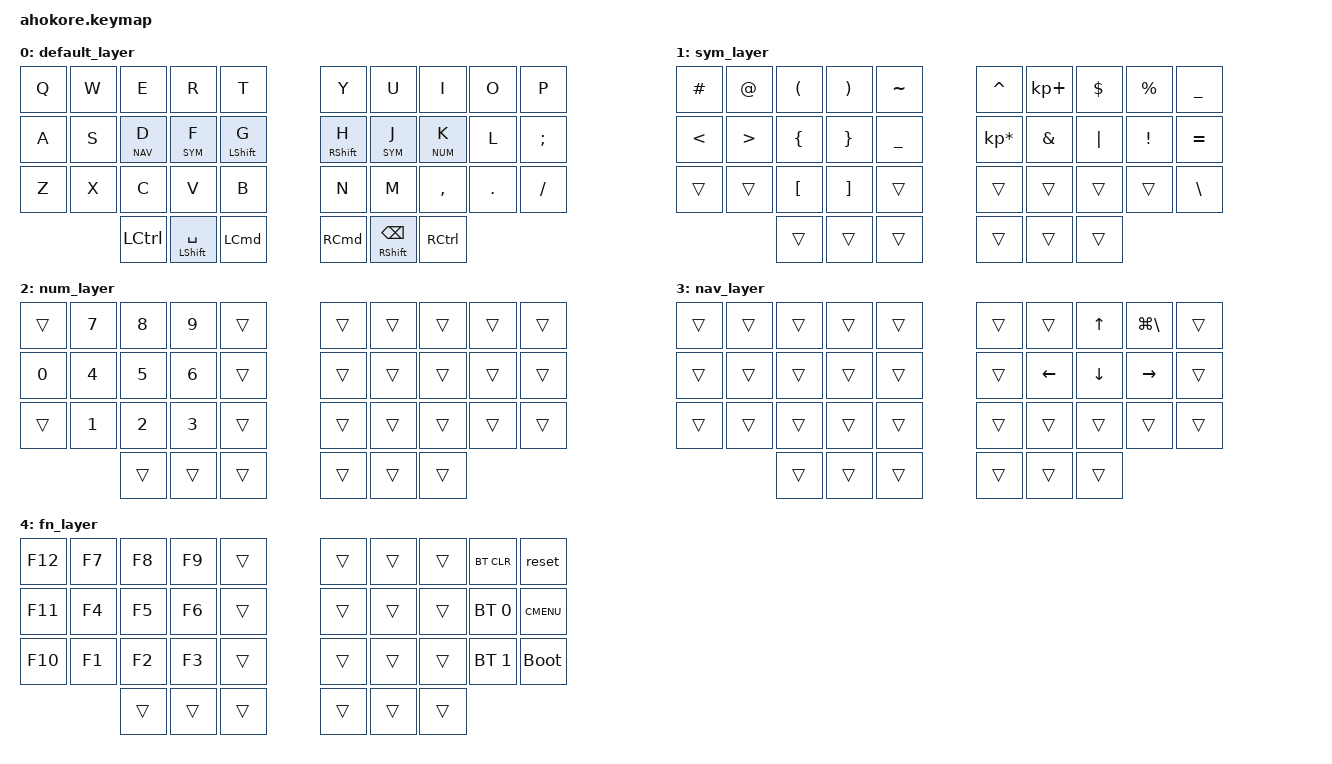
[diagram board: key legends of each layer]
/*
 * Copyright (c) 2020 The ZMK Contributors
 *
 * SPDX-License-Identifier: MIT
 */

#include <behaviors.dtsi>
#include <dt-bindings/zmk/keys.h>
#include <dt-bindings/zmk/bt.h>

#define DEFAULT 0
#define SYM 1
#define NUM 2
#define NAV 3
#define FN 4

/ {
    behaviors {
        hm: homerow_mods {
            compatible = "zmk,behavior-hold-tap";
            label = "HOMEROW_MODS";
            #binding-cells = <2>;
            tapping_term_ms = <225>;
            flavor = "balanced";
            bindings = <&kp>, <&kp>;
            };
        };

    combos {
        compatible = "zmk,combos";

        // DEFAULT LAYER COMBOS

        // F + G
        combo_tab {
            timeout-ms = <50>;
            key-positions = <13 14>;
            bindings = <&kp TAB>;
            layers = <0>;
        };
        // H + J, symmetrical 'reverse tab'
        combo_shift_tab {
            timeout-ms = <50>;
            key-positions = <15 16>;
            bindings = <&kp LS(TAB)>;
            layers = <0>;
        };
        // J + K -> fn layer, this is the num layer key press with key to left added to trigger FN layer
        combo_fn_layer { 
            timeout-ms = <50>;
            key-positions = <16 17>;
            bindings = <&mo FN>;
            layers = <0>;
        };

        // since this is a 36 key layout and doesn't have these keys on the default layer anymore, 
        // make them from a vertical combo
        combo_apostrophe {
            timeout-ms = <50>;
            key-positions = <9 19>;
            bindings = <&kp SINGLE_QUOTE>;
            layers = <0>;
        }; 
        combo_hyphen {
            timeout-ms = <50>;
            key-positions = <19 29>;
            bindings = <&kp MINUS>;
            layers = <0>;
        }; 

        // SYMBOLS LAYER COMBOS

        // apostrophe, but symbols layer version
        combo_backtick {
            timeout-ms = <50>;
            key-positions = <9 19>;
            bindings = <&kp GRAVE>;
            layers = <1>;
        };
        // make en-dash more accessible
        combo_en_dash {
            timeout-ms = <50>;
            key-positions = <19 29>;
            bindings = <&kp LA(MINUS)>;
            layers = <1>;
        }; 
        
        // UNIVERSAL COMBOS
        // (these are for the thumb keys and should remain available regardless of layer)

        combo_return {
            timeout-ms = <50>;
            key-positions = <31 34>;
            bindings = <&kp RETURN>;
        };
        combo_lshift {
            timeout-ms = <50>;
            key-positions = <31 32>;
            bindings = <&kp LSHIFT>;
        };
        combo_rshift {
            timeout-ms = <50>;
            key-positions = <33 34>;
            bindings = <&kp RSHIFT>;
        };
        combo_lalt {
            timeout-ms = <50>;
            key-positions = <30 31>;
            bindings = <&kp LALT>;
        };
        combo_ralt {
            timeout-ms = <50>;
            key-positions = <34 35>;
            bindings = <&kp RALT>;
        };
    };
};

/ {
    keymap {
        compatible = "zmk,keymap";

        default_layer {
    // -----------------------------------------------------------------------------------------
    // |  Q  |  W  |  E  |  R  |  T   |  Y  |  U   |  I  |  O  |  P  |
    // |  A  |  S  |  D  |  F  |  G   |  H  |  J   |  K  |  L  |  ;  | 
    // |  Z  |  X  |  C  |  V  |  B   |  N  |  M   |  ,  |  .  |  /  |
    //             | CTL | SPC |  CMD | CMD | BSP  | CTL |
            bindings = <
    &kp Q      &kp W            &kp E      &kp R      &kp T            &kp Y        &kp U      &kp I      &kp O    &kp P
    &kp A      &kp S            &lt NAV D  &lt SYM F  &hm LSHFT G      &hm RSHFT H  &lt SYM J  &lt NUM K  &kp L    &kp SEMI
    &kp Z      &kp X            &kp C      &kp V      &kp B            &kp N        &kp M      &kp COMMA  &kp DOT  &kp FSLH
    &kp LCTRL  &hm LSHFT SPACE  &kp LCMD   &kp RCMD   &hm RSHIFT BSPC  &kp RCTRL
                        >;
        };

        sym_layer {
    // -----------------------------------------------------------------------------------------
    // |  #  |  @  |  (  |  )  |  ~  |  ^  |  +  |  $  |  %  |  _  |
    // |  <  |  >  |  {  |  }  |  _  |  *  |  &  |  |  |  !  |  =  |
    // |     |     |  [  |  ]  |     |     |     |     |     |  \  |
    //             |     |     |     |     |     |     |
                        bindings = <
    &kp HASH  &kp AT  &kp LPAR  &kp RPAR  &kp TILDE  &kp CARET        &kp KP_PLUS  &kp DOLLAR  &kp PRCNT  &kp UNDER
    &kp LT    &kp GT  &kp LBRC  &kp RBRC  &kp UNDER  &kp KP_ASTERISK  &kp AMPS     &kp PIPE    &kp EXCL   &kp EQUAL
    &trans    &trans  &kp LBKT  &kp RBKT  &trans     &trans           &trans       &trans      &trans     &kp BSLH
    &trans    &trans  &trans    &trans    &trans     &trans
                        >;
        };

        num_layer {
    // -----------------------------------------------------------------------------------------
    // |     |  7  |  8  |  9  |     |     |     |     |     |     |
    // |  0  |  4  |  5  |  6  |     |     |     |     |     |     |
    // |     |  1  |  2  |  3  |     |     |     |     |     |     |
    //             |     |     |     |     |     |     |
                        bindings = <
    &trans  &kp N7  &kp N8  &kp N9  &trans  &trans  &trans  &trans  &trans  &trans
    &kp N0  &kp N4  &kp N5  &kp N6  &trans  &trans  &trans  &trans  &trans  &trans
    &trans  &kp N1  &kp N2  &kp N3  &trans  &trans  &trans  &trans  &trans  &trans
    &trans  &trans  &trans  &trans  &trans  &trans
                        >;
        };

        nav_layer {
    // -----------------------------------------------------------------------------------------
    // |     |     |     |      |     |      |      |  UP  | 1PASS |      |
    // |     |     |     |      |     |      | LEFT | DOWN |RIGHT  |      |
    // |     |     |     |      |     |      |      |      |       |      |
    //             |     |      |     |      |      |      |
                        bindings = <
    &trans  &trans  &trans  &trans  &trans  &trans  &trans    &kp UP    &kp LG(BSLH)  &trans
    &trans  &trans  &trans  &trans  &trans  &trans  &kp LEFT  &kp DOWN  &kp RIGHT     &trans
    &trans  &trans  &trans  &trans  &trans  &trans  &trans    &trans    &trans        &trans
    &trans  &trans  &trans  &trans  &trans  &trans
                        >;
        };

        fn_layer {
    // -----------------------------------------------------------------------------------------
    // |  F12 |  F7  |  F8  |  F9  |     |      |      |      |BTCLR| RST |
    // |  F11 |  F4  |  F5  |  F6  |     |      |      |      | BT0 |CMENU|
    // |  F10 |  F1  |  F2  |  F3  |     |      |      |      | BT1 |BOOT |
    //               |      |      |     |      |      |      |
                        bindings = <
    &kp F12  &kp F7  &kp F8  &kp F9  &trans  &trans  &trans  &trans  &bt BT_CLR    &reset
    &kp F11  &kp F4  &kp F5  &kp F6  &trans  &trans  &trans  &trans  &bt BT_SEL 0  &kp K_CMENU
    &kp F10  &kp F1  &kp F2  &kp F3  &trans  &trans  &trans  &trans  &bt BT_SEL 1  &bootloader
    &trans   &trans  &trans  &trans  &trans  &trans
                        >;
        };
    };
};
                    
